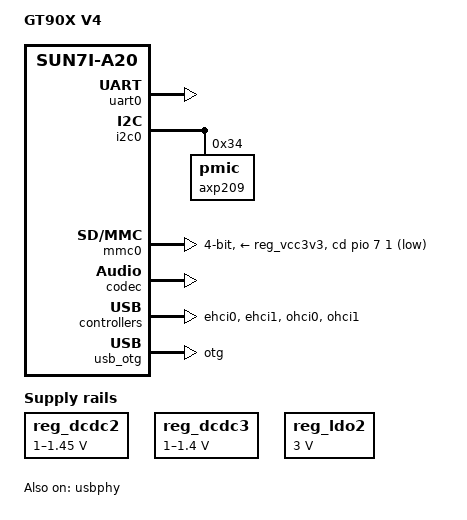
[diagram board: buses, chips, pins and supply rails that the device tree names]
/dts-v1/;
#include "sun7i-a20.dtsi"
#include "sunxi-common-regulators.dtsi"

#include <dt-bindings/gpio/gpio.h>

/ {
	model = "GT90X V4";
	compatible = "gt90x-v4", "allwinner,sun7i-a20";

	aliases {
		serial0 = &uart0;
	};

	chosen {
		stdout-path = "serial0:115200n8";
	};
};

&cpu0 {
	cpu-supply = <&reg_dcdc2>;
};

&uart0 {
	pinctrl-names = "default";
	pinctrl-0 = <&uart0_pb_pins>;
	status = "okay";
};

&i2c0 {
	status = "okay";

	axp209: pmic@34 {
		reg = <0x34>;
		interrupt-parent = <&nmi_intc>;
		interrupts = <0 IRQ_TYPE_LEVEL_LOW>;
	};
};

#include "axp209.dtsi"

&mmc0 {
	vmmc-supply = <&reg_vcc3v3>;
	bus-width = <4>;
	cd-gpios = <&pio 7 1 GPIO_ACTIVE_LOW>; /* PH1 */
	status = "okay";
};

&codec {
	allwinner,pa-gpios = <&pio 7 15 GPIO_ACTIVE_HIGH>; /* PH15 */
	status = "okay";
};

&ehci0 {
	status = "okay";
};

&ehci1 {
	status = "okay";
};

&ohci0 {
	status = "okay";
};

&ohci1 {
	status = "okay";
};

&otg_sram {
	status = "okay";
};

&pio {
	usb0_id_detect_pin: usb0-id-detect-pin {
		pins = "PH4";
		function = "gpio_in";
		bias-pull-up;
	};
};

&reg_dcdc2 {
	regulator-always-on;
	regulator-min-microvolt = <1000000>;
	regulator-max-microvolt = <1450000>;
	regulator-name = "vdd-cpu";
};

&reg_dcdc3 {
	regulator-always-on;
	regulator-min-microvolt = <1000000>;
	regulator-max-microvolt = <1400000>;
	regulator-name = "vdd-int-dll";
};

&reg_ldo1 {
	regulator-name = "vdd-rtc";
};

&reg_ldo2 {
	regulator-always-on;
	regulator-min-microvolt = <3000000>;
	regulator-max-microvolt = <3000000>;
	regulator-name = "avcc";
};

&reg_usb0_vbus {
	status = "okay";
};

&reg_usb1_vbus {
	status = "okay";
};

&reg_usb2_vbus {
	status = "okay";
};

&usb_otg {
	dr_mode = "otg";
	status = "okay";
};

&usb_power_supply {
	status = "okay";
};

&usbphy {
	pinctrl-names = "default";
	pinctrl-0 = <&usb0_id_detect_pin>;
	usb0_id_det-gpio = <&pio 7 4 GPIO_ACTIVE_HIGH>; /* PH4 */
	usb0_vbus_power-supply = <&usb_power_supply>;
	usb0_vbus-supply = <&reg_usb0_vbus>;
	usb1_vbus-supply = <&reg_usb1_vbus>;
	usb2_vbus-supply = <&reg_usb2_vbus>;
	status = "okay";
};

